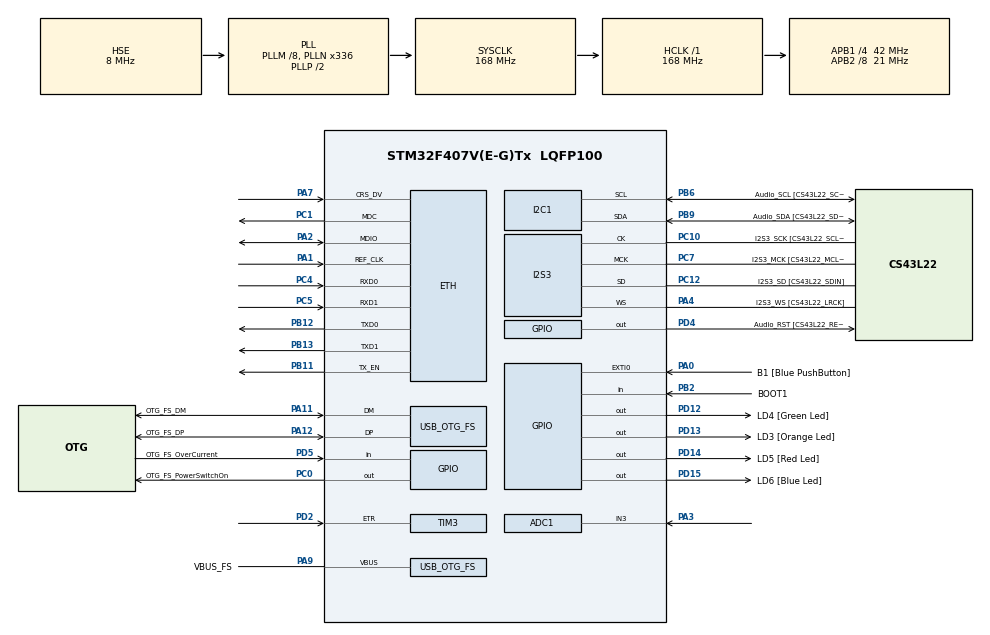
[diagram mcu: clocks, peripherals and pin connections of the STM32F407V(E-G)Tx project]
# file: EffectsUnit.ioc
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ADC1.Channel-1\#ChannelRegularConversion=ADC_CHANNEL_3
ADC1.ContinuousConvMode=ENABLE
ADC1.DMAContinuousRequests=ENABLE
ADC1.ExternalTrigConv=ADC_EXTERNALTRIGCONV_T3_TRGO
ADC1.NbrOfConversionFlag=1
ADC1.Rank-1\#ChannelRegularConversion=1
ADC1.SamplingTime-1\#ChannelRegularConversion=ADC_SAMPLETIME_3CYCLES
ADC1.master=1
Dma.ADC1.1.Direction=DMA_PERIPH_TO_MEMORY
Dma.ADC1.1.FIFOMode=DMA_FIFOMODE_DISABLE
Dma.ADC1.1.Instance=DMA2_Stream0
Dma.ADC1.1.MemDataAlignment=DMA_MDATAALIGN_HALFWORD
Dma.ADC1.1.MemInc=DMA_MINC_ENABLE
Dma.ADC1.1.Mode=DMA_NORMAL
Dma.ADC1.1.PeriphDataAlignment=DMA_PDATAALIGN_HALFWORD
Dma.ADC1.1.PeriphInc=DMA_PINC_DISABLE
Dma.ADC1.1.Priority=DMA_PRIORITY_LOW
Dma.Request0=SPI3_TX
Dma.Request1=ADC1
Dma.SPI3_TX.0.Direction=DMA_MEMORY_TO_PERIPH
Dma.SPI3_TX.0.FIFOMode=DMA_FIFOMODE_DISABLE
Dma.SPI3_TX.0.Instance=DMA1_Stream7
Dma.SPI3_TX.0.MemDataAlignment=DMA_MDATAALIGN_HALFWORD
Dma.SPI3_TX.0.MemInc=DMA_MINC_ENABLE
Dma.SPI3_TX.0.Mode=DMA_CIRCULAR
Dma.SPI3_TX.0.PeriphDataAlignment=DMA_PDATAALIGN_HALFWORD
Dma.SPI3_TX.0.PeriphInc=DMA_PINC_DISABLE
Dma.SPI3_TX.0.Priority=DMA_PRIORITY_HIGH
ETH.MediaInterface=HAL_ETH_RMII_MODE
ETH.RxMode=ETH_RXINTERRUPT_MODE
FREERTOS.Tasks01=defaultTask,0,512,StartDefaultTask,Default,NULL,Dynamic,NULL,NULL
FREERTOS.configTOTAL_HEAP_SIZE=32768
I2S3.AudioFreq=I2S_AUDIOFREQ_48K
I2S3.AudioFreq-Half_Duplex_Master=I2S_AUDIOFREQ_96K
I2S3.ErrorAudioFreq=-0.01 %
I2S3.ErrorAudioFreq-Half_Duplex_Master=0.8 %
I2S3.FullDuplexMode=I2S_FULLDUPLEXMODE_DISABLE
I2S3.Instance=SPI$Index
I2S3.RealAudioFreq=47.991 KHz
I2S3.RealAudioFreq-Half_Duplex_Master=96.774 KHz
I2S3.VirtualMode=I2S_MODE_MASTER
LWIP.BSP.number=1
LWIP.IP_ADDRESS=192.168.005.003
LWIP.LWIP_DHCP=0
LWIP.NETMASK_ADDRESS=255.255.255.000
LWIP.Version=v2.1.2_Cube
LWIP0.BSP.STBoard=false
LWIP0.BSP.api=BSP_COMPONENT_DRIVER
LWIP0.BSP.component=LAN8742
LWIP0.BSP.instance=LAN8742
LWIP0.BSP.name=Driver_PHY
LWIP0.BSP.semaphore=S_LAN8742
LWIP0.BSP.solution=LAN8742
Mcu.Family=STM32F4
Mcu.Name=STM32F407V(E-G)Tx
Mcu.Package=LQFP100
NVIC.DMA1_Stream7_IRQn=true\:5\:0\:false\:false\:true\:true\:false\:true\:true
NVIC.DMA2_Stream0_IRQn=true\:5\:0\:false\:false\:true\:true\:false\:true\:true
NVIC.ETH_IRQn=true\:5\:0\:false\:false\:true\:true\:false\:true\:true
NVIC.OTG_FS_IRQn=true\:5\:0\:false\:false\:true\:true\:true\:true\:true
NVIC.PriorityGroup=NVIC_PRIORITYGROUP_4
NVIC.SPI3_IRQn=true\:5\:0\:false\:false\:true\:true\:true\:true\:true
NVIC.TIM6_DAC_IRQn=true\:15\:0\:true\:false\:true\:false\:false\:true\:true
NVIC.TimeBase=TIM6_DAC_IRQn
NVIC.TimeBaseIP=TIM6
PA0-WKUP.GPIO_Label=B1 [Blue PushButton]
PA0-WKUP.GPIO_ModeDefaultEXTI=GPIO_MODE_EVT_RISING
PA0-WKUP.GPIO_PuPd=GPIO_NOPULL
PA0-WKUP.Signal=GPXTI0
PA1.Mode=RMII
PA1.Signal=ETH_REF_CLK
PA10.GPIO_Label=OTG_FS_ID
PA10.GPIO_Mode=GPIO_MODE_AF_PP
PA10.GPIO_PuPd=GPIO_NOPULL
PA10.GPIO_Speed=GPIO_SPEED_FREQ_LOW
PA10.Signal=USB_OTG_FS_ID
PA11.GPIO_Label=OTG_FS_DM
PA11.GPIO_Mode=GPIO_MODE_AF_PP
PA11.GPIO_PuPd=GPIO_NOPULL
PA11.GPIO_Speed=GPIO_SPEED_FREQ_LOW
PA11.Mode=Host_Only
PA11.Signal=USB_OTG_FS_DM
PA12.GPIO_Label=OTG_FS_DP
PA12.GPIO_Mode=GPIO_MODE_AF_PP
PA12.GPIO_PuPd=GPIO_NOPULL
PA12.GPIO_Speed=GPIO_SPEED_FREQ_LOW
PA12.Mode=Host_Only
PA12.Signal=USB_OTG_FS_DP
PA13.GPIO_Label=SWDIO
PA13.Mode=Serial_Wire
PA13.Signal=SYS_JTMS-SWDIO
PA14.GPIO_Label=SWCLK
PA14.Mode=Serial_Wire
PA14.Signal=SYS_JTCK-SWCLK
PA2.Mode=RMII
PA2.Signal=ETH_MDIO
PA3.Signal=ADCx_IN3
PA4.GPIO_Label=I2S3_WS [CS43L22_LRCK]
PA4.GPIO_Mode=GPIO_MODE_AF_PP
PA4.GPIO_PuPd=GPIO_NOPULL
PA4.GPIO_Speed=GPIO_SPEED_FREQ_LOW
PA4.Mode=Half_Duplex_Master
PA4.Signal=I2S3_WS
PA7.Mode=RMII
PA7.Signal=ETH_CRS_DV
PA9.GPIO_Label=VBUS_FS
PA9.GPIO_Mode=GPIO_MODE_INPUT
PA9.GPIO_PuPd=GPIO_NOPULL
PA9.Mode=Activate_VBUS
PA9.Signal=USB_OTG_FS_VBUS
PB11.Mode=RMII
PB11.Signal=ETH_TX_EN
PB12.Mode=RMII
PB12.Signal=ETH_TXD0
PB13.Mode=RMII
PB13.Signal=ETH_TXD1
PB2.GPIO_Label=BOOT1
PB2.GPIO_Mode=GPIO_MODE_INPUT
PB2.GPIO_PuPd=GPIO_NOPULL
PB2.Signal=GPIO_Input
PB3.GPIO_Label=SWO
PB3.Signal=SYS_JTDO-SWO
PB6.GPIO_Label=Audio_SCL [CS43L22_SCL]
PB6.GPIO_Mode=GPIO_MODE_AF_OD
PB6.GPIO_Pu=GPIO_PULLUP
PB6.GPIO_PuPd=GPIO_NOPULL
PB6.GPIO_Speed=GPIO_SPEED_FREQ_LOW
PB6.Mode=I2C
PB6.Signal=I2C1_SCL
PB9.GPIO_Label=Audio_SDA [CS43L22_SDA]
PB9.GPIO_Mode=GPIO_MODE_AF_OD
PB9.GPIO_Pu=GPIO_PULLUP
PB9.GPIO_PuPd=GPIO_NOPULL
PB9.GPIO_Speed=GPIO_SPEED_FREQ_LOW
PB9.Mode=I2C
PB9.Signal=I2C1_SDA
PC0.GPIO_Label=OTG_FS_PowerSwitchOn
PC0.GPIO_PuPd=GPIO_NOPULL
PC0.GPIO_Speed=GPIO_SPEED_FREQ_LOW
PC0.PinState=GPIO_PIN_SET
PC0.Signal=GPIO_Output
PC1.Mode=RMII
PC1.Signal=ETH_MDC
PC10.GPIO_Label=I2S3_SCK [CS43L22_SCLK]
PC10.GPIO_Mode=GPIO_MODE_AF_PP
PC10.GPIO_PuPd=GPIO_NOPULL
PC10.GPIO_Speed=GPIO_SPEED_FREQ_LOW
PC10.Mode=Half_Duplex_Master
PC10.Signal=I2S3_CK
PC12.GPIO_Label=I2S3_SD [CS43L22_SDIN]
PC12.GPIO_Mode=GPIO_MODE_AF_PP
PC12.GPIO_PuPd=GPIO_NOPULL
PC12.GPIO_Speed=GPIO_SPEED_FREQ_LOW
PC12.Mode=Half_Duplex_Master
PC12.Signal=I2S3_SD
PC14-OSC32_IN.GPIO_Label=PC14-OSC32_IN
PC14-OSC32_IN.Mode=LSE-External-Oscillator
PC14-OSC32_IN.Signal=RCC_OSC32_IN
PC15-OSC32_OUT.GPIO_Label=PC15-OSC32_OUT
PC15-OSC32_OUT.Mode=LSE-External-Oscillator
PC15-OSC32_OUT.Signal=RCC_OSC32_OUT
PC4.Mode=RMII
PC4.Signal=ETH_RXD0
PC5.Mode=RMII
PC5.Signal=ETH_RXD1
PC7.GPIO_Label=I2S3_MCK [CS43L22_MCLK]
PC7.GPIO_Mode=GPIO_MODE_AF_PP
PC7.GPIO_PuPd=GPIO_NOPULL
PC7.GPIO_Speed=GPIO_SPEED_FREQ_LOW
PC7.Mode=Master_Clock_Activated
PC7.Signal=I2S3_MCK
PD12.GPIO_Label=LD4 [Green Led]
PD12.GPIO_PuPd=GPIO_NOPULL
PD12.GPIO_Speed=GPIO_SPEED_FREQ_LOW
PD12.Signal=GPIO_Output
PD13.GPIO_Label=LD3 [Orange Led]
PD13.GPIO_PuPd=GPIO_NOPULL
PD13.GPIO_Speed=GPIO_SPEED_FREQ_LOW
PD13.Signal=GPIO_Output
PD14.GPIO_Label=LD5 [Red Led]
PD14.GPIO_PuPd=GPIO_NOPULL
PD14.GPIO_Speed=GPIO_SPEED_FREQ_LOW
PD14.Signal=GPIO_Output
PD15.GPIO_Label=LD6 [Blue Led]
PD15.GPIO_PuPd=GPIO_NOPULL
PD15.GPIO_Speed=GPIO_SPEED_FREQ_LOW
PD15.Signal=GPIO_Output
PD2.Signal=S_TIM3_ETR
PD4.GPIO_Label=Audio_RST [CS43L22_RESET]
PD4.GPIO_PuPd=GPIO_NOPULL
PD4.GPIO_Speed=GPIO_SPEED_FREQ_LOW
PD4.Signal=GPIO_Output
PD5.GPIO_Label=OTG_FS_OverCurrent
PD5.GPIO_Mode=GPIO_MODE_INPUT
PD5.GPIO_PuPd=GPIO_NOPULL
PD5.Signal=GPIO_Input
PH0-OSC_IN.GPIO_Label=PH0-OSC_IN
PH0-OSC_IN.Mode=HSE-External-Oscillator
PH0-OSC_IN.Signal=RCC_OSC_IN
PH1-OSC_OUT.GPIO_Label=PH1-OSC_OUT
PH1-OSC_OUT.Mode=HSE-External-Oscillator
PH1-OSC_OUT.Signal=RCC_OSC_OUT
ProjectManager.HeapSize=0x400
ProjectManager.StackSize=0x1000
ProjectManager.TargetToolchain=STM32CubeIDE
RCC.48MHZClocksFreq_Value=48000000
RCC.AHBFreq_Value=168000000
RCC.APB1CLKDivider=RCC_HCLK_DIV4
RCC.APB1Freq_Value=42000000
RCC.APB1TimFreq_Value=84000000
RCC.APB2CLKDivider=RCC_HCLK_DIV8
RCC.APB2Freq_Value=21000000
RCC.APB2TimFreq_Value=42000000
RCC.CortexFreq_Value=168000000
RCC.HCLKFreq_Value=168000000
RCC.HSE_VALUE=8000000
RCC.HSI_VALUE=16000000
RCC.PLLI2SN=258
RCC.PLLI2SR=3
RCC.PLLM=8
RCC.PLLN=336
RCC.PLLQ=7
RCC.SYSCLKFreq_VALUE=168000000
RCC.SYSCLKSource=RCC_SYSCLKSOURCE_PLLCLK
RCC.VCOOutputFreq_Value=336000000
SH.ADCx_IN3.0=ADC1_IN3,IN3
SH.S_TIM3_ETR.0=TIM3_ETR,TriggerSource_ETR
TIM14.Period=199
TIM14.Prescaler=419
TIM3.Period=1
TIM3.TIM_MasterOutputTrigger=TIM_TRGO_UPDATE
USB_OTG_FS.VirtualMode=Host_Only
USB_OTG_FS.phy_itface=HCD_PHY_EMBEDDED
VP_FREERTOS_VS_CMSIS_V1.Mode=CMSIS_V1
VP_LWIP_VS_Enabled.Mode=Enabled
VP_SYS_VS_tim6.Mode=TIM6
VP_TIM14_VS_ClockSourceINT.Mode=Enable_Timer
VP_TIM3_VS_ClockSourceINT.Mode=Internal
VP_TIM3_VS_ControllerModeReset.Mode=Reset Mode
board=STM32F407G-DISC1

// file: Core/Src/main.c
/* USER CODE BEGIN Header */
/**
  ******************************************************************************
  * @file           : main.c
  * @brief          : Main program body
  ******************************************************************************
  * @attention
  *
  * Copyright (c) 2026 STMicroelectronics.
  * All rights reserved.
  *
  * This software is licensed under terms that can be found in the LICENSE file
  * in the root directory of this software component.
  * If no LICENSE file comes with this software, it is provided AS-IS.
  *
  ******************************************************************************
  */
/* USER CODE END Header */
#include "main.h"
#include "cmsis_os.h"
#include "lwip.h"

/* USER CODE BEGIN Includes */
#include "equaliser.h"
#include "CS43L22.h"
#include "bitcrusher.h"
#include "overdrive.h"
#include "audio_buffers.h"
#include "audio_process.h"
#include "FreeRTOS.h"
#include "task.h"
#include "transport.h"
#include "dispatcher.h"
#include "led_controller.h"
/* USER CODE END Includes */

ADC_HandleTypeDef hadc1;
DMA_HandleTypeDef hdma_adc1;

I2C_HandleTypeDef hi2c1;

I2S_HandleTypeDef hi2s3;
DMA_HandleTypeDef hdma_spi3_tx;

TIM_HandleTypeDef htim3;
TIM_HandleTypeDef htim14;

HCD_HandleTypeDef hhcd_USB_OTG_FS;

osThreadId defaultTaskHandle;
/* USER CODE BEGIN PV */

static overdrive_config_t od_cfg =
{
    .gain = 3.5f,
    .driving_function = DRIVE_HARD,
    .sample_size = 0
};

static equaliser_t eq =
{
    .sample_rate = 48000,
    .sample_size = 0,
};

static bitcrusher_config_t btc_cfg =
{
    .bit_depth = 10,
    .downsample_factor = 1,
    .mix_parameter = 0.6f,
    .dither_level = 0.5f,
	.rng_state = 0x92
};

static CS43L22_config_t dac_cfg =
{
    .hi2s = &hi2s3,
    .hi2c = &hi2c1,
    .reset_port = GPIOD,
    .reset_pin = GPIO_PIN_4,
};

/* USER CODE END PV */

void SystemClock_Config(void);
static void MX_GPIO_Init(void);
static void MX_DMA_Init(void);
static void MX_I2C1_Init(void);
static void MX_I2S3_Init(void);
static void MX_TIM3_Init(void);
static void MX_USB_OTG_FS_HCD_Init(void);
static void MX_TIM14_Init(void);
static void MX_ADC1_Init(void);
void StartDefaultTask(void const * argument);

/* USER CODE BEGIN 0 */
void test_chain_init(void)
{
    eq_reset(&eq);
    eq_set_band(&eq, 0, EQ_FILTER_LOW_SHELF, 200.0f, 0.707f, 4.0f);
    eq_set_band(&eq, 1, EQ_FILTER_PEAKING, 3000.0f, 1.5f, -6.0f);
    eq_set_band(&eq, 2, EQ_FILTER_LOW_PASS, 1000.0f, 0.707f, 0.0f);
    eq_set_band(&eq, 3, EQ_FILTER_LOW_PASS, 1000.0f, 0.707f, 0.0f);
    eq_set_band(&eq, 4, EQ_FILTER_LOW_SHELF, 200.0f, 0.707f, 4.0f);
	  eq_set_band(&eq, 5, EQ_FILTER_PEAKING, 3000.0f, 1.5f, -6.0f);
	  eq_set_band(&eq, 6, EQ_FILTER_LOW_PASS, 1000.0f, 0.707f, 0.0f);
	  eq_set_band(&eq, 7, EQ_FILTER_LOW_PASS, 1000.0f, 0.707f, 0.0f);
	  eq_enable_band(&eq, 0);
    eq_enable_band(&eq, 1);
    eq_enable_band(&eq, 2);
	  eq_enable_band(&eq, 3);
	  eq_enable_band(&eq, 4);
	  eq_enable_band(&eq, 5);
	  eq_enable_band(&eq, 6);
	  eq_enable_band(&eq, 7);

    CS43L22_init(&dac_cfg, (uint16_t*)get_i16_output_buffer(), AUDIO_BUF_STEREO_LEN);

    audio_process_init(&hi2s3, &hadc1);

    //effect_chain_add(overdrive_wrapper, overdrive_set_size, &od_cfg);
    effect_chain_add(equaliser_wrapper, equaliser_set_size, &eq);
    //effect_chain_add(bitcrusher_wrapper, bitcrusher_set_size, &btc_cfg);

    //HAL_ADC_Start_DMA(&hadc1, (uint32_t*)get_u16_input_buffer(), AUDIO_BUF_LEN);

    //CS43L22_play();
}
/* USER CODE END 0 */

int main(void)
{

  /* MCU Configuration--------------------------------------------------------*/

  /* Reset of all peripherals, Initializes the Flash interface and the Systick. */
  HAL_Init();

  /* Configure the system clock */
  SystemClock_Config();

  /* Initialize all configured peripherals */
  MX_GPIO_Init();
  MX_DMA_Init();
  MX_I2C1_Init();
  MX_I2S3_Init();
  MX_TIM3_Init();
  MX_USB_OTG_FS_HCD_Init();
  MX_TIM14_Init();
  MX_ADC1_Init();
  /* USER CODE BEGIN 2 */
  HAL_TIM_Base_Start(&htim3);
  HAL_TIM_Base_Start(&htim14);
  HAL_TIM_PWM_Start(&htim14, TIM_CHANNEL_1);
  test_chain_init();

  transport_init();
  dispatcher_init();

  register_led_controller_dispatch();
  configASSERT(xTaskCreate(vTCP_ReceiveWorkerTask, "TCP_Rx", 3072, NULL, tskIDLE_PRIORITY + 2, NULL)== pdPASS);
  configASSERT(xTaskCreate(vDispatcherTask, "Dispatch", 512, NULL, tskIDLE_PRIORITY + 2, NULL) == pdPASS);

  //HAL_ADC_Start_DMA(&hadc1, (uint32_t*)get_u16_input_buffer(), AUDIO_BUF_LEN);
  /* USER CODE END 2 */

  /* Create the thread(s) */
  /* definition and creation of defaultTask */
  osThreadDef(defaultTask, StartDefaultTask, osPriorityNormal, 0, 512);
  defaultTaskHandle = osThreadCreate(osThread(defaultTask), NULL);

  /* Start scheduler */
  osKernelStart();

  /* We should never get here as control is now taken by the scheduler */

  /* Infinite loop */
  while (1)
  {

  }
}

void SystemClock_Config(void)
{
  RCC_OscInitTypeDef RCC_OscInitStruct = {0};
  RCC_ClkInitTypeDef RCC_ClkInitStruct = {0};

  /** Configure the main internal regulator output voltage
  */
  __HAL_RCC_PWR_CLK_ENABLE();
  __HAL_PWR_VOLTAGESCALING_CONFIG(PWR_REGULATOR_VOLTAGE_SCALE1);

  /** Initializes the RCC Oscillators according to the specified parameters
  * in the RCC_OscInitTypeDef structure.
  */
  RCC_OscInitStruct.OscillatorType = RCC_OSCILLATORTYPE_HSE;
  RCC_OscInitStruct.HSEState = RCC_HSE_ON;
  RCC_OscInitStruct.PLL.PLLState = RCC_PLL_ON;
  RCC_OscInitStruct.PLL.PLLSource = RCC_PLLSOURCE_HSE;
  RCC_OscInitStruct.PLL.PLLM = 8;
  RCC_OscInitStruct.PLL.PLLN = 336;
  RCC_OscInitStruct.PLL.PLLP = RCC_PLLP_DIV2;
  RCC_OscInitStruct.PLL.PLLQ = 7;
  if (HAL_RCC_OscConfig(&RCC_OscInitStruct) != HAL_OK)
  {
    Error_Handler();
  }

  /** Initializes the CPU, AHB and APB buses clocks
  */
  RCC_ClkInitStruct.ClockType = RCC_CLOCKTYPE_HCLK|RCC_CLOCKTYPE_SYSCLK
                              |RCC_CLOCKTYPE_PCLK1|RCC_CLOCKTYPE_PCLK2;
  RCC_ClkInitStruct.SYSCLKSource = RCC_SYSCLKSOURCE_PLLCLK;
  RCC_ClkInitStruct.AHBCLKDivider = RCC_SYSCLK_DIV1;
  RCC_ClkInitStruct.APB1CLKDivider = RCC_HCLK_DIV4;
  RCC_ClkInitStruct.APB2CLKDivider = RCC_HCLK_DIV8;

  if (HAL_RCC_ClockConfig(&RCC_ClkInitStruct, FLASH_LATENCY_5) != HAL_OK)
  {
    Error_Handler();
  }
}

static void MX_ADC1_Init(void)
{

  ADC_ChannelConfTypeDef sConfig = {0};

  /** Configure the global features of the ADC (Clock, Resolution, Data Alignment and number of conversion)
  */
  hadc1.Instance = ADC1;
  hadc1.Init.ClockPrescaler = ADC_CLOCK_SYNC_PCLK_DIV2;
  hadc1.Init.Resolution = ADC_RESOLUTION_12B;
  hadc1.Init.ScanConvMode = DISABLE;
  hadc1.Init.ContinuousConvMode = ENABLE;
  hadc1.Init.DiscontinuousConvMode = DISABLE;
  hadc1.Init.ExternalTrigConvEdge = ADC_EXTERNALTRIGCONVEDGE_RISING;
  hadc1.Init.ExternalTrigConv = ADC_EXTERNALTRIGCONV_T3_TRGO;
  hadc1.Init.DataAlign = ADC_DATAALIGN_RIGHT;
  hadc1.Init.NbrOfConversion = 1;
  hadc1.Init.DMAContinuousRequests = ENABLE;
  hadc1.Init.EOCSelection = ADC_EOC_SINGLE_CONV;
  if (HAL_ADC_Init(&hadc1) != HAL_OK)
  {
    Error_Handler();
  }

  /** Configure for the selected ADC regular channel its corresponding rank in the sequencer and its sample time.
  */
  sConfig.Channel = ADC_CHANNEL_3;
  sConfig.Rank = 1;
  sConfig.SamplingTime = ADC_SAMPLETIME_3CYCLES;
  if (HAL_ADC_ConfigChannel(&hadc1, &sConfig) != HAL_OK)
  {
    Error_Handler();
  }

}

static void MX_I2C1_Init(void)
{

  hi2c1.Instance = I2C1;
  hi2c1.Init.ClockSpeed = 100000;
  hi2c1.Init.DutyCycle = I2C_DUTYCYCLE_2;
  hi2c1.Init.OwnAddress1 = 0;
  hi2c1.Init.AddressingMode = I2C_ADDRESSINGMODE_7BIT;
  hi2c1.Init.DualAddressMode = I2C_DUALADDRESS_DISABLE;
  hi2c1.Init.OwnAddress2 = 0;
  hi2c1.Init.GeneralCallMode = I2C_GENERALCALL_DISABLE;
  hi2c1.Init.NoStretchMode = I2C_NOSTRETCH_DISABLE;
  if (HAL_I2C_Init(&hi2c1) != HAL_OK)
  {
    Error_Handler();
  }

}

static void MX_I2S3_Init(void)
{

  hi2s3.Instance = SPI3;
  hi2s3.Init.Mode = I2S_MODE_MASTER_TX;
  hi2s3.Init.Standard = I2S_STANDARD_PHILIPS;
  hi2s3.Init.DataFormat = I2S_DATAFORMAT_16B;
  hi2s3.Init.MCLKOutput = I2S_MCLKOUTPUT_ENABLE;
  hi2s3.Init.AudioFreq = I2S_AUDIOFREQ_48K;
  hi2s3.Init.CPOL = I2S_CPOL_LOW;
  hi2s3.Init.ClockSource = I2S_CLOCK_PLL;
  hi2s3.Init.FullDuplexMode = I2S_FULLDUPLEXMODE_DISABLE;
  if (HAL_I2S_Init(&hi2s3) != HAL_OK)
  {
    Error_Handler();
  }

}

static void MX_TIM3_Init(void)
{

  TIM_ClockConfigTypeDef sClockSourceConfig = {0};
  TIM_SlaveConfigTypeDef sSlaveConfig = {0};
  TIM_MasterConfigTypeDef sMasterConfig = {0};

  htim3.Instance = TIM3;
  htim3.Init.Prescaler = 0;
  htim3.Init.CounterMode = TIM_COUNTERMODE_UP;
  htim3.Init.Period = 1;
  htim3.Init.ClockDivision = TIM_CLOCKDIVISION_DIV1;
  htim3.Init.AutoReloadPreload = TIM_AUTORELOAD_PRELOAD_DISABLE;
  if (HAL_TIM_Base_Init(&htim3) != HAL_OK)
  {
    Error_Handler();
  }
  sClockSourceConfig.ClockSource = TIM_CLOCKSOURCE_INTERNAL;
  if (HAL_TIM_ConfigClockSource(&htim3, &sClockSourceConfig) != HAL_OK)
  {
    Error_Handler();
  }
  sSlaveConfig.SlaveMode = TIM_SLAVEMODE_RESET;
  sSlaveConfig.InputTrigger = TIM_TS_ETRF;
  sSlaveConfig.TriggerPolarity = TIM_TRIGGERPOLARITY_NONINVERTED;
  sSlaveConfig.TriggerPrescaler = TIM_TRIGGERPRESCALER_DIV1;
  sSlaveConfig.TriggerFilter = 0;
  if (HAL_TIM_SlaveConfigSynchro(&htim3, &sSlaveConfig) != HAL_OK)
  {
    Error_Handler();
  }
  sMasterConfig.MasterOutputTrigger = TIM_TRGO_UPDATE;
  sMasterConfig.MasterSlaveMode = TIM_MASTERSLAVEMODE_DISABLE;
  if (HAL_TIMEx_MasterConfigSynchronization(&htim3, &sMasterConfig) != HAL_OK)
  {
    Error_Handler();
  }

}

static void MX_TIM14_Init(void)
{

  htim14.Instance = TIM14;
  htim14.Init.Prescaler = 419;
  htim14.Init.CounterMode = TIM_COUNTERMODE_UP;
  htim14.Init.Period = 199;
  htim14.Init.ClockDivision = TIM_CLOCKDIVISION_DIV1;
  htim14.Init.AutoReloadPreload = TIM_AUTORELOAD_PRELOAD_DISABLE;
  if (HAL_TIM_Base_Init(&htim14) != HAL_OK)
  {
    Error_Handler();
  }

}

static void MX_USB_OTG_FS_HCD_Init(void)
{

  hhcd_USB_OTG_FS.Instance = USB_OTG_FS;
  hhcd_USB_OTG_FS.Init.Host_channels = 8;
  hhcd_USB_OTG_FS.Init.speed = HCD_SPEED_FULL;
  hhcd_USB_OTG_FS.Init.dma_enable = DISABLE;
  hhcd_USB_OTG_FS.Init.phy_itface = HCD_PHY_EMBEDDED;
  hhcd_USB_OTG_FS.Init.Sof_enable = DISABLE;
  if (HAL_HCD_Init(&hhcd_USB_OTG_FS) != HAL_OK)
  {
    Error_Handler();
  }

}

static void MX_DMA_Init(void)
{

  /* DMA controller clock enable */
  __HAL_RCC_DMA1_CLK_ENABLE();
  __HAL_RCC_DMA2_CLK_ENABLE();

  /* DMA interrupt init */
  /* DMA1_Stream7_IRQn interrupt configuration */
  HAL_NVIC_SetPriority(DMA1_Stream7_IRQn, 5, 0);
  HAL_NVIC_EnableIRQ(DMA1_Stream7_IRQn);
  /* DMA2_Stream0_IRQn interrupt configuration */
  HAL_NVIC_SetPriority(DMA2_Stream0_IRQn, 5, 0);
  HAL_NVIC_EnableIRQ(DMA2_Stream0_IRQn);

}

static void MX_GPIO_Init(void)
{
  GPIO_InitTypeDef GPIO_InitStruct = {0};

  /* GPIO Ports Clock Enable */
  __HAL_RCC_GPIOC_CLK_ENABLE();
  __HAL_RCC_GPIOH_CLK_ENABLE();
  __HAL_RCC_GPIOA_CLK_ENABLE();
  __HAL_RCC_GPIOB_CLK_ENABLE();
  __HAL_RCC_GPIOD_CLK_ENABLE();

  /*Configure GPIO pin Output Level */
  HAL_GPIO_WritePin(OTG_FS_PowerSwitchOn_GPIO_Port, OTG_FS_PowerSwitchOn_Pin, GPIO_PIN_SET);

  /*Configure GPIO pin Output Level */
  HAL_GPIO_WritePin(GPIOD, LD4_Pin|LD3_Pin|LD5_Pin|LD6_Pin
                          |Audio_RST_Pin, GPIO_PIN_RESET);

  /*Configure GPIO pin : OTG_FS_PowerSwitchOn_Pin */
  GPIO_InitStruct.Pin = OTG_FS_PowerSwitchOn_Pin;
  GPIO_InitStruct.Mode = GPIO_MODE_OUTPUT_PP;
  GPIO_InitStruct.Pull = GPIO_NOPULL;
  GPIO_InitStruct.Speed = GPIO_SPEED_FREQ_LOW;
  HAL_GPIO_Init(OTG_FS_PowerSwitchOn_GPIO_Port, &GPIO_InitStruct);

  /*Configure GPIO pin : B1_Pin */
  GPIO_InitStruct.Pin = B1_Pin;
  GPIO_InitStruct.Mode = GPIO_MODE_EVT_RISING;
  GPIO_InitStruct.Pull = GPIO_NOPULL;
  HAL_GPIO_Init(B1_GPIO_Port, &GPIO_InitStruct);

  /*Configure GPIO pin : BOOT1_Pin */
  GPIO_InitStruct.Pin = BOOT1_Pin;
  GPIO_InitStruct.Mode = GPIO_MODE_INPUT;
  GPIO_InitStruct.Pull = GPIO_NOPULL;
  HAL_GPIO_Init(BOOT1_GPIO_Port, &GPIO_InitStruct);

  /*Configure GPIO pins : LD4_Pin LD3_Pin LD5_Pin LD6_Pin
                           Audio_RST_Pin */
  GPIO_InitStruct.Pin = LD4_Pin|LD3_Pin|LD5_Pin|LD6_Pin
                          |Audio_RST_Pin;
  GPIO_InitStruct.Mode = GPIO_MODE_OUTPUT_PP;
  GPIO_InitStruct.Pull = GPIO_NOPULL;
  GPIO_InitStruct.Speed = GPIO_SPEED_FREQ_LOW;
  HAL_GPIO_Init(GPIOD, &GPIO_InitStruct);

  /*Configure GPIO pin : OTG_FS_OverCurrent_Pin */
  GPIO_InitStruct.Pin = OTG_FS_OverCurrent_Pin;
  GPIO_InitStruct.Mode = GPIO_MODE_INPUT;
  GPIO_InitStruct.Pull = GPIO_NOPULL;
  HAL_GPIO_Init(OTG_FS_OverCurrent_GPIO_Port, &GPIO_InitStruct);

}

/* USER CODE BEGIN Header_StartDefaultTask */
/**
  * @brief  Function implementing the defaultTask thread.
  * @param  argument: Not used
  * @retval None
  */
#define TCP_WORKER_STACK_WORDS  1024u
/* USER CODE END Header_StartDefaultTask */
void StartDefaultTask(void const * argument)
{
  /* init code for LWIP */
  MX_LWIP_Init();
  /* USER CODE BEGIN 5 */
  xTaskCreate(vTCP_ReceiveWorkerTask,
                "tcp_rx",
                TCP_WORKER_STACK_WORDS,
                NULL,
                tskIDLE_PRIORITY + 2,
                NULL);

  /* Infinite loop */
  for(;;)
  {
	  vTaskDelay(100);
  }
  /* USER CODE END 5 */
}

void HAL_TIM_PeriodElapsedCallback(TIM_HandleTypeDef *htim)
{
  if (htim->Instance == TIM6)
  {
    HAL_IncTick();
  }
}

void Error_Handler(void)
{
  __disable_irq();
  while (1)
  {
  }
}
